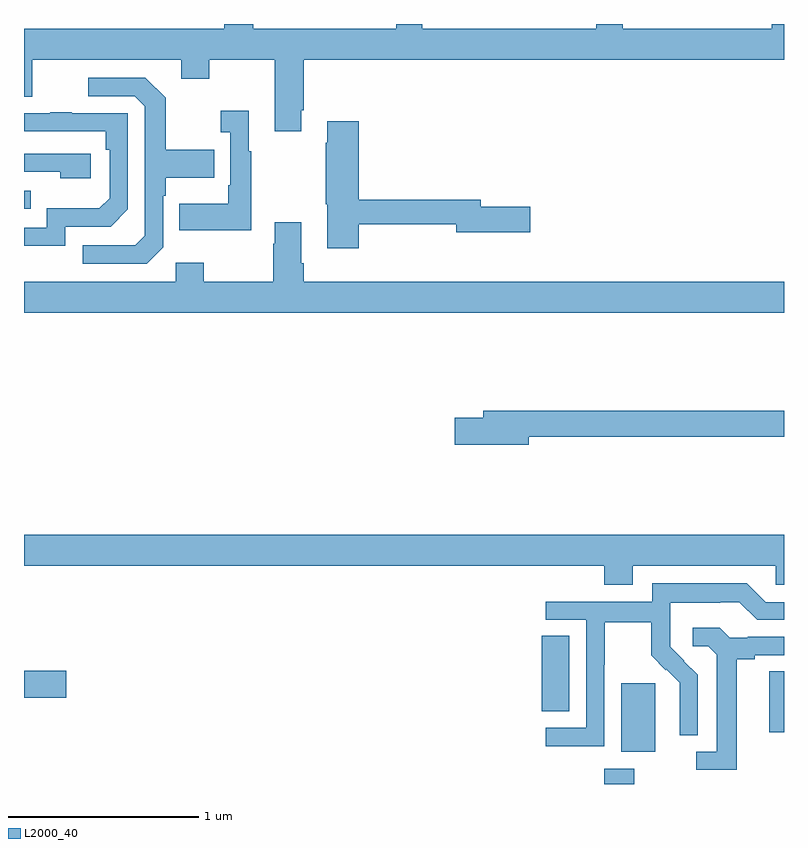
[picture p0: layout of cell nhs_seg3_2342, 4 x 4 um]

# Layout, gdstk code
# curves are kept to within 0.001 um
import gdstk
lib = gdstk.Library(unit=1e-6, precision=1e-09)
def R(c, l, rs):  # rectangles x0, y0, x1, y1
    for r in rs: c.add(gdstk.rectangle(r[:2], r[2:], *l))
def P(c, l, *ps):  # polygons
    for p in ps: c.add(gdstk.Polygon(p, *l))
L2000_40 = (2000, 40)

nhs_seg3_2342 = lib.new_cell('nhs_seg3_2342')
R(nhs_seg3_2342, L2000_40, [(234.053,734.4,234.213,734.479), (234.143,734.57,234.322,734.931), (234.923,734.673,235,734.993), (233.726,734.782,233.869,735.179), (231,734.854,231.223,734.996), (231,737.427,231.035,737.523)])
P(nhs_seg3_2342, L2000_40, [(232.459,737.947),(232.472,737.947),(232.472,738.212),(235,738.212),(235,738.4),(234.935,738.4),(234.935,738.376),(234.151,738.376),(234.151,738.4),(234.011,738.4),(234.011,738.376),(233.097,738.376),(233.097,738.4),(232.959,738.4),(232.959,738.376),(232.207,738.376),(232.207,738.4),(232.055,738.4),(232.055,738.376),(231,738.376),(231,738.018),(231.043,738.018),(231.043,738.212),(231.827,738.212),(231.827,738.113),(231.975,738.113),(231.975,738.212),(232.319,738.212),(232.319,737.835),(232.459,737.835)],
  [(231.732,737.226),(231.732,737.495),(231.745,737.495),(231.745,737.591),(232.001,737.591),(232.001,737.739),(231.745,737.739),(231.745,738.011),(231.639,738.117),(231.339,738.117),(231.339,738.021),(231.582,738.021),(231.636,737.967),(231.636,737.286),(231.585,737.235),(231.309,737.235),(231.309,737.139),(231.645,737.139)],
  [(232.195,737.731),(232.183,737.731),(232.183,737.944),(232.035,737.944),(232.035,737.831),(232.086,737.831),(232.086,737.551),(232.074,737.551),(232.074,737.455),(231.817,737.455),(231.817,737.315),(232.195,737.315)],
  [(231.216,737.334),(231.456,737.334),(231.546,737.424),(231.546,737.931),(231.251,737.931),(231.251,737.936),(231.139,737.936),(231.139,737.931),(231,737.931),(231,737.835),(231.43,737.835),(231.43,737.738),(231.45,737.738),(231.45,737.484),(231.397,737.431),(231.12,737.431),(231.12,737.328),(231,737.328),(231,737.232),(231.216,737.232)],
  [(232.763,737.346),(233.276,737.346),(233.276,737.303),(233.665,737.303),(233.665,737.438),(233.404,737.438),(233.404,737.474),(232.763,737.474),(232.763,737.887),(232.595,737.887),(232.595,737.774),(232.588,737.774),(232.588,737.451),(232.595,737.451),(232.595,737.22),(232.763,737.22)],
  [(231.352,737.718),(231,737.718),(231,737.622),(231.191,737.622),(231.191,737.588),(231.352,737.588)],
  [(235,737.044),(232.472,737.044),(232.472,737.14),(232.459,737.14),(232.459,737.356),(232.319,737.356),(232.319,737.243),(232.312,737.243),(232.312,737.044),(231.945,737.044),(231.945,737.143),(231.798,737.143),(231.798,737.044),(231,737.044),(231,736.88),(235,736.88)],
  [(233.656,736.228),(235,736.228),(235,736.364),(233.417,736.364),(233.417,736.328),(233.268,736.328),(233.268,736.186),(233.656,736.186)],
  [(234.205,735.548),(234.957,735.548),(234.957,735.45),(235,735.45),(235,735.712),(231,735.712),(231,735.548),(234.053,735.548),(234.053,735.449),(234.205,735.449)],
  [(234.054,735.028),(234.057,735.028),(234.057,735.252),(234.301,735.252),(234.301,735.077),(234.378,735),(234.381,735.003),(234.452,734.933),(234.452,734.81),(234.45,734.81),(234.45,734.656),(234.546,734.656),(234.546,734.974),(234.4,735.122),(234.4,735.219),(234.402,735.219),(234.402,735.353),(234.665,735.353),(234.665,735.357),(234.765,735.357),(234.858,735.264),(235,735.264),(235,735.357),(234.903,735.357),(234.803,735.457),(234.306,735.457),(234.306,735.36),(233.745,735.36),(233.745,735.264),(233.958,735.264),(233.958,734.697),(233.745,734.697),(233.745,734.599),(234.054,734.599)],
  [(234.751,735.056),(234.847,735.056),(234.847,735.078),(235,735.078),(235,735.174),(234.808,735.174),(234.808,735.171),(234.714,735.171),(234.662,735.223),(234.519,735.223),(234.519,735.126),(234.6,735.126),(234.647,735.079),(234.647,734.571),(234.537,734.571),(234.537,734.475),(234.751,734.475)])

lib.write_gds('nhs_seg3_2342.gds')
